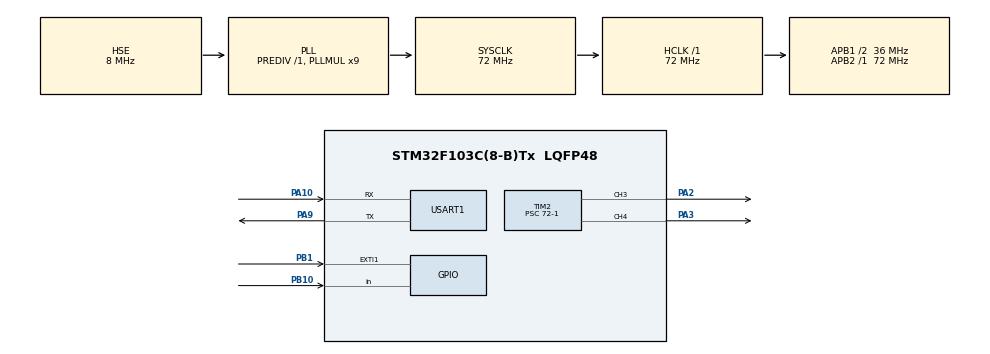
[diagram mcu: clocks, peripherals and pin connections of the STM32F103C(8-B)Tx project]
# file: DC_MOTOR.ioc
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FREERTOS.Tasks01=Task2,0,128,Task2_init,Default,NULL,Dynamic,NULL,NULL;Task1,0,128,Task1_init,Default,NULL,Dynamic,NULL,NULL
FREERTOS.configUSE_NEWLIB_REENTRANT=0
Mcu.Family=STM32F1
Mcu.Name=STM32F103C(8-B)Tx
Mcu.Package=LQFP48
NVIC.EXTI1_IRQn=true\:5\:0\:false\:false\:true\:true\:true\:true\:true
NVIC.PriorityGroup=NVIC_PRIORITYGROUP_4
NVIC.TIM3_IRQn=true\:5\:0\:false\:false\:true\:true\:true\:true\:true
NVIC.TIM4_IRQn=true\:15\:0\:false\:false\:true\:false\:false\:true\:true
NVIC.TimeBase=TIM4_IRQn
NVIC.TimeBaseIP=TIM4
PA10.Mode=Asynchronous
PA10.Signal=USART1_RX
PA13.Mode=Serial_Wire
PA13.Signal=SYS_JTMS-SWDIO
PA14.Mode=Serial_Wire
PA14.Signal=SYS_JTCK-SWCLK
PA2.Signal=S_TIM2_CH3
PA3.Signal=S_TIM2_CH4
PA9.Mode=Asynchronous
PA9.Signal=USART1_TX
PB1.GPIO_PuPd=GPIO_PULLUP
PB1.Signal=GPXTI1
PB10.GPIO_PuPd=GPIO_PULLUP
PB10.Signal=GPIO_Input
PD0-OSC_IN.Mode=HSE-External-Oscillator
PD0-OSC_IN.Signal=RCC_OSC_IN
PD1-OSC_OUT.Mode=HSE-External-Oscillator
PD1-OSC_OUT.Signal=RCC_OSC_OUT
ProjectManager.HeapSize=0x200
ProjectManager.StackSize=0x400
ProjectManager.TargetToolchain=STM32CubeIDE
RCC.AHBFreq_Value=72000000
RCC.APB1CLKDivider=RCC_HCLK_DIV2
RCC.APB1Freq_Value=36000000
RCC.APB1TimFreq_Value=72000000
RCC.APB2Freq_Value=72000000
RCC.APB2TimFreq_Value=72000000
RCC.HCLKFreq_Value=72000000
RCC.PLLMUL=RCC_PLL_MUL9
RCC.PLLSourceVirtual=RCC_PLLSOURCE_HSE
RCC.SYSCLKFreq_VALUE=72000000
RCC.SYSCLKSource=RCC_SYSCLKSOURCE_PLLCLK
RCC.USBFreq_Value=72000000
SH.S_TIM2_CH3.0=TIM2_CH3,PWM Generation3 CH3
SH.S_TIM2_CH4.0=TIM2_CH4,PWM Generation4 CH4
TIM2.Channel-PWM\ Generation3\ CH3=TIM_CHANNEL_3
TIM2.Channel-PWM\ Generation4\ CH4=TIM_CHANNEL_4
TIM2.Period=1000-1
TIM2.Prescaler=72-1
TIM3.Period=1000-1
TIM3.Prescaler=72-1
USART1.VirtualMode=VM_ASYNC
VP_FREERTOS_VS_CMSIS_V1.Mode=CMSIS_V1
VP_SYS_VS_tim4.Mode=TIM4
VP_TIM2_VS_ClockSourceINT.Mode=Internal
VP_TIM3_VS_ClockSourceINT.Mode=Internal
board=custom

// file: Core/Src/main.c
/* USER CODE BEGIN Header */
/**
  ******************************************************************************
  * @file           : main.c
  * @brief          : Main program body
  ******************************************************************************
  * @attention
  *
  * Copyright (c) 2023 STMicroelectronics.
  * All rights reserved.
  *
  * This software is licensed under terms that can be found in the LICENSE file
  * in the root directory of this software component.
  * If no LICENSE file comes with this software, it is provided AS-IS.
  *
  ******************************************************************************
  */
/* USER CODE END Header */
#include "main.h"
#include "cmsis_os.h"

/* USER CODE BEGIN Includes */
#include<stdlib.h>

/* USER CODE END Includes */

TIM_HandleTypeDef htim2;
TIM_HandleTypeDef htim3;

UART_HandleTypeDef huart1;

osThreadId Task2Handle;
osThreadId Task1Handle;
/* USER CODE BEGIN PV */
int  count1,precount1;
double v1;

double pre1;
double e1; // lỗi khâu P
double ei1; // lỗi khâu I
double ed1;
double u1;
//double kp1 = 0.4,ki1 =0.001;
double kp1 = 0,ki1 =0;

int dir , pwm;
double v1Filt, v1Prev;
//double gain= 0.1252;
double gain;
int v_target = 0;
double pos ;

int p_target;
double e2;
double ei2;
double ed2;
double pre_e2;
double u2;
double kp2 , ki2 , kd2 ;
/* USER CODE END PV */

void SystemClock_Config(void);
static void MX_GPIO_Init(void);
static void MX_TIM2_Init(void);
static void MX_TIM3_Init(void);
static void MX_USART1_UART_Init(void);
void Task2_init(void const * argument);
void Task1_init(void const * argument);

/* USER CODE BEGIN 0 */

void posControlPID(){
	e2 = p_target - count1;
	ei2 += e2*0.001;
	ed2 = (e2-pre_e2)/0.001;
	if (ei2> 1000){
		ei2  =1000;
	}else if(ei2<-1000){
		ei2 = -1000;
	}
	u2 = e2*kp2+ei2*ki2+ed2*kd2;
	if (u2>0)dir=-1;
	else if(u2<0)dir = 1;
	else dir = 0;
	pwm = abs(u2);
	if(pwm>200){pwm = 200;}
	else if ((pwm<50)&&(e2!=0)){
		pwm = 50;

	}
}

void calculatePIDSpeed(){
	e1 = v_target - v1; // tinh toan loi ty le
	ei1 += e1 * 0.001; // tinh toan loi tich phan
	ed1 = (e1 - pre1) / 0.001;
	u1 = kp1 * e1 + ki1 * ei1; //Tinh tong bo dieu khien
	pre1 = e1;
	if(u1 < 0) dir = 1; //bien doi chiue vong quay
	else dir = -1;
	pwm = abs(u1);

	if(pwm > 1000) pwm = 1000;//Bao hoa xung cap
}

void HAL_GPIO_EXTI_Callback(uint16_t GPIO_Pin)
{
	if (GPIO_Pin == GPIO_PIN_1){
		if (HAL_GPIO_ReadPin(GPIOB,GPIO_PIN_10) == 0) {count1++;}
		else {count1--;}
	}
}
void ControlMotor(int ChannelA, int ChannelB){
	__HAL_TIM_SET_COMPARE(&htim2, TIM_CHANNEL_3, ChannelA);
	__HAL_TIM_SET_COMPARE(&htim2, TIM_CHANNEL_4, ChannelB);
}

void driveSpeed(int dir , int pwmVal){
	if (dir == -1){
		ControlMotor(pwmVal,0);
	}
	else if (dir == 1){
		ControlMotor(0,pwmVal);
	}
	else{
		ControlMotor(0,0);
	}
}

/* USER CODE END 0 */

int main(void)
{

  /* MCU Configuration--------------------------------------------------------*/

  /* Reset of all peripherals, Initializes the Flash interface and the Systick. */
  HAL_Init();

  /* Configure the system clock */
  SystemClock_Config();

  /* Initialize all configured peripherals */
  MX_GPIO_Init();
  MX_TIM2_Init();
  MX_TIM3_Init();
  MX_USART1_UART_Init();
  /* USER CODE BEGIN 2 */
  HAL_TIM_Base_Start_IT(&htim3);
  HAL_TIM_PWM_Start(&htim2,TIM_CHANNEL_3);
  HAL_TIM_PWM_Start(&htim2,TIM_CHANNEL_4);
  /* USER CODE END 2 */

  /* Create the thread(s) */
  /* definition and creation of Task2 */
  osThreadDef(Task2, Task2_init, osPriorityNormal, 0, 128);
  Task2Handle = osThreadCreate(osThread(Task2), NULL);

  /* definition and creation of Task1 */
  osThreadDef(Task1, Task1_init, osPriorityNormal, 0, 128);
  Task1Handle = osThreadCreate(osThread(Task1), NULL);

  /* Start scheduler */
  osKernelStart();

  /* We should never get here as control is now taken by the scheduler */
  /* Infinite loop */
  while (1)
  {

  }
}

void SystemClock_Config(void)
{
  RCC_OscInitTypeDef RCC_OscInitStruct = {0};
  RCC_ClkInitTypeDef RCC_ClkInitStruct = {0};

  /** Initializes the RCC Oscillators according to the specified parameters
  * in the RCC_OscInitTypeDef structure.
  */
  RCC_OscInitStruct.OscillatorType = RCC_OSCILLATORTYPE_HSE;
  RCC_OscInitStruct.HSEState = RCC_HSE_ON;
  RCC_OscInitStruct.HSEPredivValue = RCC_HSE_PREDIV_DIV1;
  RCC_OscInitStruct.HSIState = RCC_HSI_ON;
  RCC_OscInitStruct.PLL.PLLState = RCC_PLL_ON;
  RCC_OscInitStruct.PLL.PLLSource = RCC_PLLSOURCE_HSE;
  RCC_OscInitStruct.PLL.PLLMUL = RCC_PLL_MUL9;
  if (HAL_RCC_OscConfig(&RCC_OscInitStruct) != HAL_OK)
  {
    Error_Handler();
  }

  /** Initializes the CPU, AHB and APB buses clocks
  */
  RCC_ClkInitStruct.ClockType = RCC_CLOCKTYPE_HCLK|RCC_CLOCKTYPE_SYSCLK
                              |RCC_CLOCKTYPE_PCLK1|RCC_CLOCKTYPE_PCLK2;
  RCC_ClkInitStruct.SYSCLKSource = RCC_SYSCLKSOURCE_PLLCLK;
  RCC_ClkInitStruct.AHBCLKDivider = RCC_SYSCLK_DIV1;
  RCC_ClkInitStruct.APB1CLKDivider = RCC_HCLK_DIV2;
  RCC_ClkInitStruct.APB2CLKDivider = RCC_HCLK_DIV1;

  if (HAL_RCC_ClockConfig(&RCC_ClkInitStruct, FLASH_LATENCY_2) != HAL_OK)
  {
    Error_Handler();
  }
}

static void MX_TIM2_Init(void)
{

  TIM_ClockConfigTypeDef sClockSourceConfig = {0};
  TIM_MasterConfigTypeDef sMasterConfig = {0};
  TIM_OC_InitTypeDef sConfigOC = {0};

  htim2.Instance = TIM2;
  htim2.Init.Prescaler = 72-1;
  htim2.Init.CounterMode = TIM_COUNTERMODE_UP;
  htim2.Init.Period = 1000-1;
  htim2.Init.ClockDivision = TIM_CLOCKDIVISION_DIV1;
  htim2.Init.AutoReloadPreload = TIM_AUTORELOAD_PRELOAD_DISABLE;
  if (HAL_TIM_Base_Init(&htim2) != HAL_OK)
  {
    Error_Handler();
  }
  sClockSourceConfig.ClockSource = TIM_CLOCKSOURCE_INTERNAL;
  if (HAL_TIM_ConfigClockSource(&htim2, &sClockSourceConfig) != HAL_OK)
  {
    Error_Handler();
  }
  if (HAL_TIM_PWM_Init(&htim2) != HAL_OK)
  {
    Error_Handler();
  }
  sMasterConfig.MasterOutputTrigger = TIM_TRGO_RESET;
  sMasterConfig.MasterSlaveMode = TIM_MASTERSLAVEMODE_DISABLE;
  if (HAL_TIMEx_MasterConfigSynchronization(&htim2, &sMasterConfig) != HAL_OK)
  {
    Error_Handler();
  }
  sConfigOC.OCMode = TIM_OCMODE_PWM1;
  sConfigOC.Pulse = 0;
  sConfigOC.OCPolarity = TIM_OCPOLARITY_HIGH;
  sConfigOC.OCFastMode = TIM_OCFAST_DISABLE;
  if (HAL_TIM_PWM_ConfigChannel(&htim2, &sConfigOC, TIM_CHANNEL_3) != HAL_OK)
  {
    Error_Handler();
  }
  if (HAL_TIM_PWM_ConfigChannel(&htim2, &sConfigOC, TIM_CHANNEL_4) != HAL_OK)
  {
    Error_Handler();
  }
  HAL_TIM_MspPostInit(&htim2);

}

static void MX_TIM3_Init(void)
{

  TIM_ClockConfigTypeDef sClockSourceConfig = {0};
  TIM_MasterConfigTypeDef sMasterConfig = {0};

  htim3.Instance = TIM3;
  htim3.Init.Prescaler = 72-1;
  htim3.Init.CounterMode = TIM_COUNTERMODE_UP;
  htim3.Init.Period = 1000-1;
  htim3.Init.ClockDivision = TIM_CLOCKDIVISION_DIV1;
  htim3.Init.AutoReloadPreload = TIM_AUTORELOAD_PRELOAD_DISABLE;
  if (HAL_TIM_Base_Init(&htim3) != HAL_OK)
  {
    Error_Handler();
  }
  sClockSourceConfig.ClockSource = TIM_CLOCKSOURCE_INTERNAL;
  if (HAL_TIM_ConfigClockSource(&htim3, &sClockSourceConfig) != HAL_OK)
  {
    Error_Handler();
  }
  sMasterConfig.MasterOutputTrigger = TIM_TRGO_RESET;
  sMasterConfig.MasterSlaveMode = TIM_MASTERSLAVEMODE_DISABLE;
  if (HAL_TIMEx_MasterConfigSynchronization(&htim3, &sMasterConfig) != HAL_OK)
  {
    Error_Handler();
  }

}

static void MX_USART1_UART_Init(void)
{

  huart1.Instance = USART1;
  huart1.Init.BaudRate = 115200;
  huart1.Init.WordLength = UART_WORDLENGTH_8B;
  huart1.Init.StopBits = UART_STOPBITS_1;
  huart1.Init.Parity = UART_PARITY_NONE;
  huart1.Init.Mode = UART_MODE_TX_RX;
  huart1.Init.HwFlowCtl = UART_HWCONTROL_NONE;
  huart1.Init.OverSampling = UART_OVERSAMPLING_16;
  if (HAL_UART_Init(&huart1) != HAL_OK)
  {
    Error_Handler();
  }

}

static void MX_GPIO_Init(void)
{
  GPIO_InitTypeDef GPIO_InitStruct = {0};

  /* GPIO Ports Clock Enable */
  __HAL_RCC_GPIOD_CLK_ENABLE();
  __HAL_RCC_GPIOA_CLK_ENABLE();
  __HAL_RCC_GPIOB_CLK_ENABLE();

  /*Configure GPIO pin : PB1 */
  GPIO_InitStruct.Pin = GPIO_PIN_1;
  GPIO_InitStruct.Mode = GPIO_MODE_IT_RISING;
  GPIO_InitStruct.Pull = GPIO_PULLUP;
  HAL_GPIO_Init(GPIOB, &GPIO_InitStruct);

  /*Configure GPIO pin : PB10 */
  GPIO_InitStruct.Pin = GPIO_PIN_10;
  GPIO_InitStruct.Mode = GPIO_MODE_INPUT;
  GPIO_InitStruct.Pull = GPIO_PULLUP;
  HAL_GPIO_Init(GPIOB, &GPIO_InitStruct);

  /* EXTI interrupt init*/
  HAL_NVIC_SetPriority(EXTI1_IRQn, 5, 0);
  HAL_NVIC_EnableIRQ(EXTI1_IRQn);

}

void Task2_init(void const * argument)
{
  /* USER CODE BEGIN 5 */
  /* Infinite loop */
  for(;;)
  {

//	calculatePIDSpeed();
//	driveSpeed(dir,pwm);
//    osDelay(1);

	posControlPID();
	driveSpeed(dir,pwm);
	osDelay(1);
  }
  /* USER CODE END 5 */
}

void Task1_init(void const * argument)
{
  for(;;)
  {
    osDelay(1);
  }
}

void HAL_TIM_PeriodElapsedCallback(TIM_HandleTypeDef *htim)
{
  if (htim->Instance == TIM4) {
    HAL_IncTick();
  }
  /* USER CODE BEGIN Callback 1 */
	pos = count1 - precount1;
	v1 = ((pos/0.001)/13)*60; //�?ổi vận tốc qua rpm,(Vận tốc ảo)
//	v1Filt = gain*(v1-v1Filt)+v1Filt;
	v1Filt = 0.854 * v1Filt + 0.0728 * v1 + 0.0728 * v1Prev;//Bo loc van toc thong thap
	v1Prev = v1; //cập nhật biến V1
	precount1 = count1;

  /* USER CODE END Callback 1 */
}

void Error_Handler(void)
{
  __disable_irq();
  while (1)
  {
  }
}
